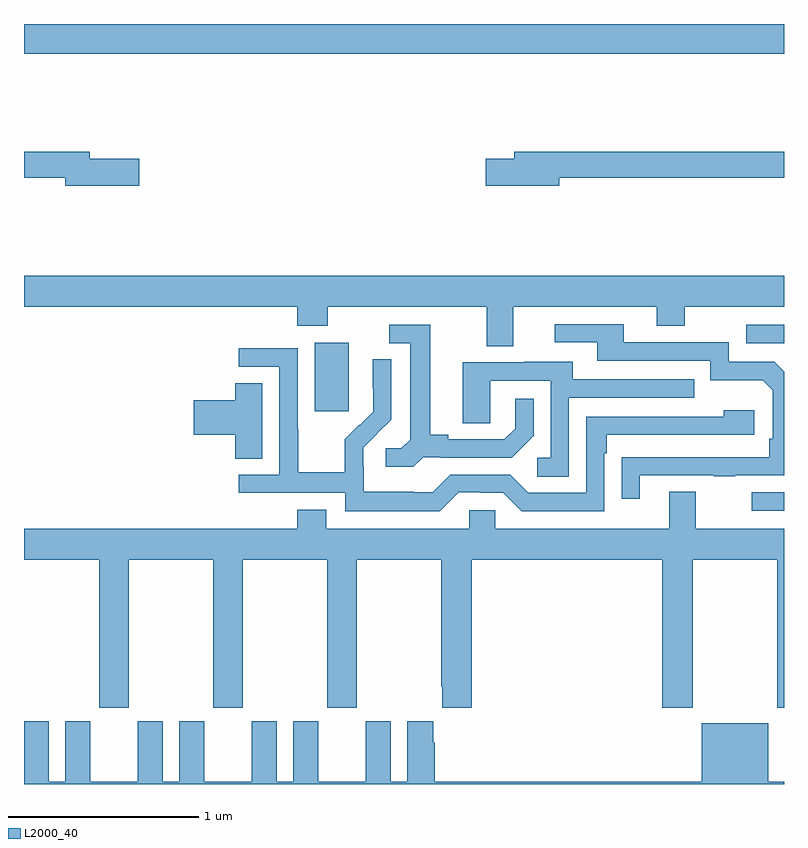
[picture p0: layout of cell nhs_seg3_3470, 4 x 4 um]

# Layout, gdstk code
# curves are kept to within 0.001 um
import gdstk
lib = gdstk.Library(unit=1e-6, precision=1e-09)
def R(c, l, rs):  # rectangles x0, y0, x1, y1
    for r in rs: c.add(gdstk.rectangle(r[:2], r[2:], *l))
def P(c, l, *ps):  # polygons
    for p in ps: c.add(gdstk.Polygon(p, *l))
L2000_40 = (2000, 40)

nhs_seg3_3470 = lib.new_cell('nhs_seg3_3470')
R(nhs_seg3_3470, L2000_40, [(294.831,703.839,295,703.935), (292.529,704.361,292.708,704.722), (294.801,704.721,295,704.817), (291,706.244,295,706.4)])
P(nhs_seg3_3470, L2000_40, [(291.607,705.692),(291.346,705.692),(291.346,705.728),(291,705.728),(291,705.592),(291.218,705.592),(291.218,705.55),(291.607,705.55)],
  [(293.818,705.592),(295,705.592),(295,705.728),(293.579,705.728),(293.579,705.692),(293.43,705.692),(293.43,705.55),(293.818,705.55)],
  [(293.575,704.912),(294.329,704.912),(294.329,704.813),(294.477,704.813),(294.477,704.912),(295,704.912),(295,705.076),(291,705.076),(291,704.912),(292.439,704.912),(292.439,704.813),(292.599,704.813),(292.599,704.912),(293.435,704.912),(293.435,704.704),(293.575,704.704)],
  [(294.241,704.025),(294.631,704.025),(294.631,704.02),(294.743,704.02),(294.743,704.025),(295,704.025),(295,704.57),(294.948,704.622),(294.708,704.622),(294.708,704.724),(294.157,704.724),(294.157,704.82),(293.793,704.82),(293.793,704.724),(294.017,704.724),(294.017,704.628),(294.612,704.628),(294.612,704.525),(294.889,704.525),(294.942,704.472),(294.942,704.218),(294.922,704.218),(294.922,704.121),(294.145,704.12),(294.145,703.902),(294.241,703.902)],
  [(293.1,704.121),(293.194,704.121),(293.194,704.118),(293.566,704.118),(293.682,704.234),(293.682,704.428),(293.585,704.428),(293.585,704.271),(293.528,704.214),(293.233,704.214),(293.233,704.237),(293.137,704.237),(293.137,704.817),(292.923,704.817),(292.923,704.721),(293.033,704.721),(293.033,704.213),(292.986,704.166),(292.905,704.166),(292.905,704.069),(293.048,704.069)],
  [(293.289,703.935),(293.405,703.935),(293.405,703.932),(293.523,703.932),(293.619,703.836),(294.054,703.836),(294.054,704.141),(294.067,704.141),(294.067,704.238),(294.844,704.238),(294.844,704.368),(294.683,704.368),(294.683,704.334),(293.958,704.334),(293.958,703.932),(293.655,703.932),(293.559,704.028),(293.244,704.028),(293.151,703.935),(293.051,703.935),(293.051,703.939),(292.788,703.939),(292.788,704.073),(292.786,704.073),(292.786,704.17),(292.932,704.318),(292.932,704.636),(292.836,704.636),(292.836,704.482),(292.838,704.482),(292.838,704.36),(292.767,704.289),(292.764,704.292),(292.687,704.215),(292.687,704.041),(292.443,704.041),(292.443,704.264),(292.44,704.264),(292.44,704.694),(292.131,704.694),(292.131,704.595),(292.344,704.595),(292.344,704.028),(292.131,704.028),(292.131,703.932),(292.692,703.932),(292.692,703.835),(293.189,703.835)],
  [(293.868,704.433),(294.527,704.433),(294.527,704.529),(293.887,704.529),(293.887,704.623),(293.633,704.623),(293.633,704.619),(293.309,704.619),(293.309,704.299),(293.454,704.299),(293.454,704.523),(293.772,704.523),(293.772,704.118),(293.7,704.118),(293.7,704.017),(293.868,704.017)],
  [(292.255,704.51),(292.112,704.51),(292.112,704.42),(291.894,704.42),(291.894,704.237),(292.112,704.237),(292.112,704.113),(292.255,704.113)],
  [(291.552,703.58),(291.997,703.58),(291.997,702.801),(292.152,702.801),(292.152,703.58),(292.597,703.58),(292.597,702.801),(292.752,702.801),(292.752,703.58),(293.197,703.58),(293.197,702.913),(293.201,702.913),(293.201,702.801),(293.357,702.801),(293.357,703.58),(294.359,703.58),(294.359,702.801),(294.519,702.801),(294.519,703.58),(294.964,703.58),(294.964,702.801),(295,702.801),(295,703.744),(294.535,703.744),(294.535,703.939),(294.395,703.939),(294.395,703.744),(293.481,703.744),(293.481,703.842),(293.343,703.842),(293.343,703.744),(292.591,703.744),(292.591,703.843),(292.439,703.843),(292.439,703.744),(291,703.744),(291,703.58),(291.397,703.58),(291.397,702.801),(291.552,702.801)],
  [(292.199,702.73),(292.199,702.412),(291.949,702.412),(291.949,702.73),(291.818,702.73),(291.818,702.412),(291.73,702.412),(291.73,702.73),(291.599,702.73),(291.599,702.412),(291.349,702.412),(291.349,702.73),(291.218,702.73),(291.218,702.412),(291.13,702.412),(291.13,702.73),(291,702.73),(291,702.4),(295,702.4),(295,702.412),(294.916,702.412),(294.916,702.721),(294.566,702.721),(294.566,702.412),(293.162,702.412),(293.162,702.617),(293.155,702.617),(293.155,702.73),(293.018,702.73),(293.018,702.412),(292.93,702.412),(292.93,702.73),(292.799,702.73),(292.799,702.412),(292.549,702.412),(292.549,702.73),(292.418,702.73),(292.418,702.412),(292.33,702.412),(292.33,702.73)])

lib.write_gds('nhs_seg3_3470.gds')
